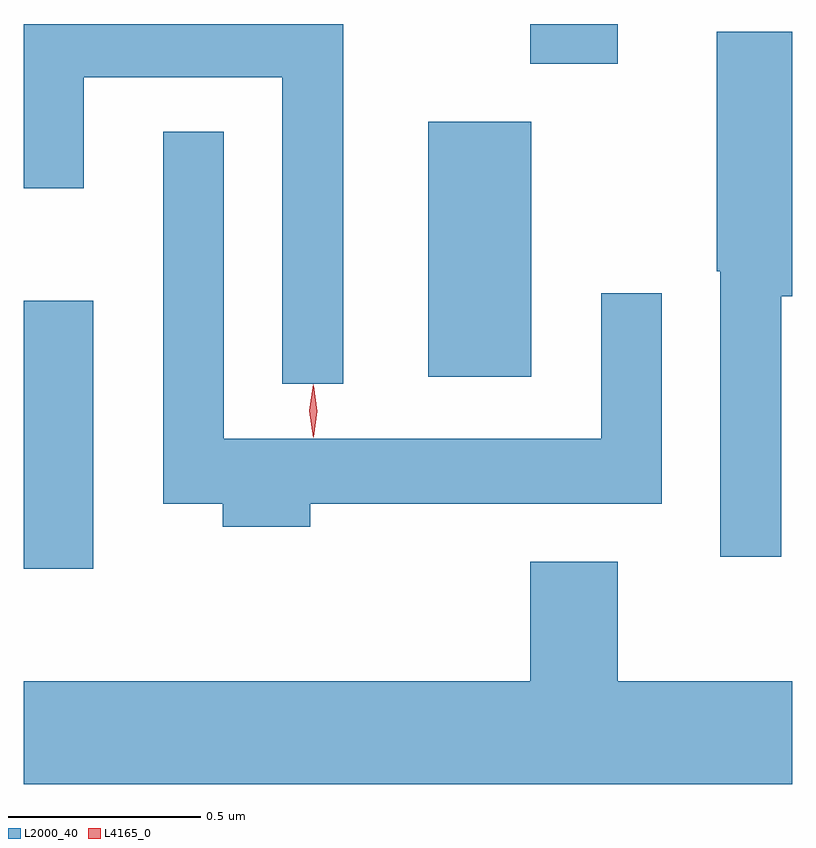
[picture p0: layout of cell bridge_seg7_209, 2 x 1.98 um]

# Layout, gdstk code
import gdstk
lib = gdstk.Library(unit=1e-6, precision=1e-09)
def R(c, l, rs):  # rectangles x0, y0, x1, y1
    for r in rs: c.add(gdstk.rectangle(r[:2], r[2:], *l))
def P(c, l, *ps):  # polygons
    for p in ps: c.add(gdstk.Polygon(p, *l))
L2000_40 = (2000, 40)
L4165_0 = (4165, 0)

bridge_seg7_209 = lib.new_cell('bridge_seg7_209')
R(bridge_seg7_209, L2000_40, [(1482.193,1721.536,1482.374,1722.234), (1483.246,1722.036,1483.514,1722.699), (1483.511,1722.851,1483.739,1722.954)])
P(bridge_seg7_209, L2000_40, [(1483.024,1722.954),(1482.193,1722.954),(1482.193,1722.526),(1482.349,1722.526),(1482.349,1722.816),(1482.866,1722.816),(1482.866,1722.018),(1483.024,1722.018)],
  [(1484.164,1722.246),(1484.193,1722.246),(1484.193,1722.934),(1483.996,1722.934),(1483.996,1722.31),(1484.006,1722.31),(1484.006,1721.568),(1484.164,1721.568)],
  [(1482.939,1721.706),(1483.854,1721.706),(1483.854,1722.253),(1483.696,1722.253),(1483.696,1721.874),(1482.714,1721.874),(1482.714,1722.673),(1482.556,1722.673),(1482.556,1721.706),(1482.711,1721.706),(1482.711,1721.646),(1482.939,1721.646)],
  [(1484.193,1721.244),(1483.739,1721.244),(1483.739,1721.554),(1483.511,1721.554),(1483.511,1721.244),(1482.193,1721.244),(1482.193,1720.976),(1484.193,1720.976)])
P(bridge_seg7_209, L4165_0, [(1482.946,1721.877),(1482.946,1721.877),(1482.936,1721.947),(1482.946,1722.016),(1482.946,1722.016),(1482.947,1722.016),(1482.956,1721.947),(1482.947,1721.877)],
  [(1482.947,1721.879),(1482.947,1721.88),(1482.937,1721.946),(1482.947,1722.012),(1482.947,1722.013),(1482.948,1722.012),(1482.957,1721.946),(1482.948,1721.88)])

lib.write_gds('bridge_seg7_209.gds')
